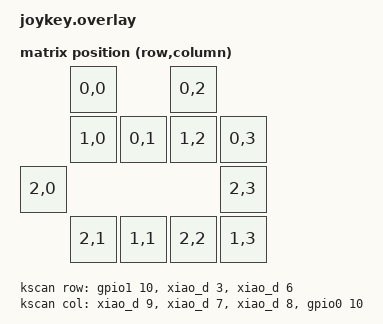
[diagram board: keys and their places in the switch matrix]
#include <dt-bindings/zmk/matrix_transform.h>

#include "joykey-layouts.dtsi"

/ {
    chosen {
        zmk,physical-layout = &default_layout;
    };

    kscan: kscan {
        // If the hardware does not use a switch matrix, change this to the
        // appropriate driver and update the properties below to match.
        // See https://zmk.dev/docs/config/kscan for supported key scan drivers.
        compatible = "zmk,kscan-gpio-matrix";
        // Set this to "col2row" or "row2col" to match the hardware. If using
        // "row2col", change the col-gpios to (GPIO_ACTIVE_HIGH | GPIO_PULL_DOWN)
        // and the row-gpios to GPIO_ACTIVE_HIGH.
        diode-direction = "col2row";
        wakeup-source;

        // Replace these comments with the GPIO pins in the matrix.
        // See https://zmk.dev/docs/development/hardware-integration/new-shield#shield-overlays
        col-gpios
            = <&xiao_d 9 GPIO_ACTIVE_HIGH>
            , <&xiao_d 7 GPIO_ACTIVE_HIGH>
            , <&xiao_d 8 GPIO_ACTIVE_HIGH>
            , <&gpio0 10 GPIO_ACTIVE_HIGH>
            ; // The last one may be 9 or 10, depending on which NFC pin I used for digital. Also, these pins can be a max of 10khz

        row-gpios
            = <&gpio1 10 (GPIO_ACTIVE_HIGH | GPIO_PULL_DOWN)> 
            , <&xiao_d 3 (GPIO_ACTIVE_HIGH | GPIO_PULL_DOWN)>
            , <&xiao_d 6 (GPIO_ACTIVE_HIGH | GPIO_PULL_DOWN)>
            ; //gpio1 10 is an unpopulated mic pin
    };

    default_transform: default_transform {
        // See https://zmk.dev/docs/development/hardware-integration/new-shield#matrix-transform
        // for how to configure this
        compatible = "zmk,matrix-transform";
        columns = <4>;
        rows = <3>;

        /* Keymap 0: Basic layer
        *
        *                 .------------.             .------------.                               
        *    _____________|    Left    |_____________|   Right    |____________ 
        *  /              '------------'             '------------'    Enc  Up  \
        * |                                                              _  _    |
        * |    Joystick                                               =        = |
        * |    .-------.    .-----------.-----------.-----------.   =            =
        * |  /    _ _    \  |   Key 1   |   Key 2   |   Key 3   |  =              =
        * | .  .''   ''.  . |           |           |           |  =  Enc Button  =
        * | | ( Button  ) | |-----------+-----------+-----------|   =            =
        * | '  '.._ _..'  ' |   Key 4   |   Key 5   |   Key 6   |     =        = |
        * |  \           /  |           |           |           |        ~  ~    |
        * '    '-------'    '-----------'-----------'-----------'      Enc Down  '
        *  \                                                                    /
        *    `-- .________________________________________________________. --'
        */

        map = <
            RC(0,0)               RC(0,2)
               RC(1,0) RC(0,1) RC(1,2)  RC(0,3)
        RC(2,0)                         RC(2,3)
               RC(2,1) RC(1,1) RC(2,2)  RC(1,3)
        >;
    };
};
